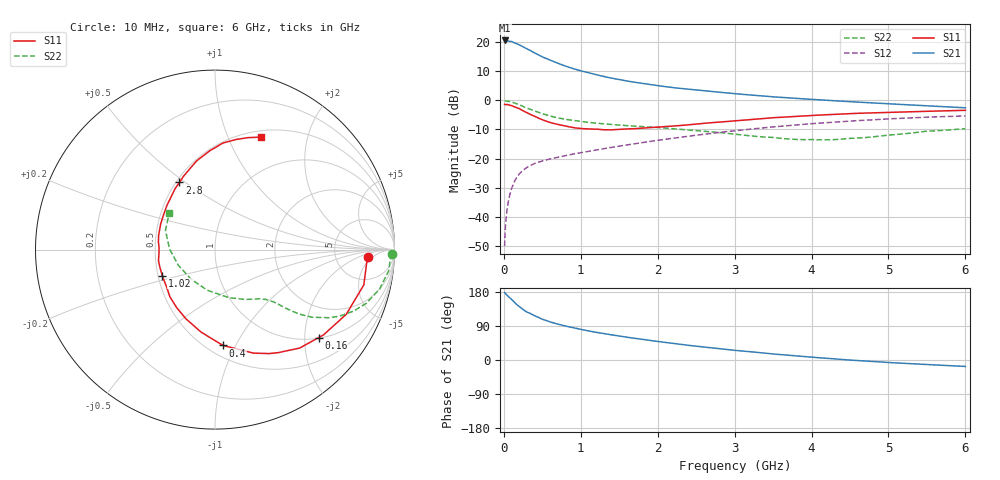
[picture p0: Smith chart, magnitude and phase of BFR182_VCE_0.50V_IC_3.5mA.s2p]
! Infineon Technologies  Discrete & RF Semiconductors
! BFR182
! VCE = 0.50 V,  IC =  3.5 mA
! Common Emitter S-Parameters:  Nov 2015
# GHz  S  MA  R  50
!  f  S11  S21  S12  S22
! GHz  MAG  ANG  MAG  ANG  MAG  ANG  MAG  ANG
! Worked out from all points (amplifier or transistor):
!   210 points, 10 MHz to 6 GHz, reference 50 ohm
!   highest |S21| = 20.7 dB at 10 MHz (marker M1)
!   |S21| within 3 dB of that: start of sweep to 309.4 MHz
!   unconditionally stable (mu >= 1): 1.081 GHz to 3.753 GHz
!   at 185 MHz: K = 0.28, MSG = 22.6 dB, |S12| = -25.9 dB
!   at 1.52 GHz: K = 1.10, MAG = 9.4 dB, |S12| = -15.6 dB
!   at 6 GHz: K = 0.98, MSG = 1.4 dB, |S12| = -5.3 dB
!   S11 on the Smith chart (normalised r, x): 10 MHz: 12, -4; 160 MHz: 1.02, -2.34; 400 MHz: 0.59, -0.89; 1.02 GHz: 0.53, -0.17; 2.8 GHz: 0.52, +0.47; 6 GHz: 0.57, +1.32
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0.01  0.855 -2.8  10.78 178.1  0.0031 87.6  0.9867 -1.4
0.02  0.8481 -5.3  10.69 175.6  0.0065 86.6  0.9786 -2.9
0.04  0.849 -10.6  10.62 171.5  0.0127 83.7  0.9755 -5.6
0.1  0.8156 -26.2  10.31 159.3  0.0302 75.6  0.9433 -13.5
0.15  0.7689 -38.2  9.676 149.1  0.0434 69.6  0.8948 -19.5
0.16  0.7576 -40.3  9.54 147.5  0.0455 68.5  0.8842 -20.4
0.2  0.7236 -49.3  9.07 140.9  0.0542 65.0  0.8439 -24.0
0.26  0.6537 -62.4  8.285 131.8  0.0645 60.0  0.778 -28.6
0.3  0.6155 -69.6  7.749 126.6  0.0703 57.6  0.7372 -31.0
0.4  0.5356 -85.3  6.58 116.7  0.0823 53.3  0.6567 -35.0
0.5  0.4661 -99.6  5.623 107.7  0.0908 50.8  0.591 -37.4
0.6  0.4182 -112.8  4.944 100.6  0.0984 49.9  0.5386 -38.9
0.7  0.3881 -123.2  4.375 94.7  0.1051 49.6  0.5013 -39.9
0.8  0.3635 -133.8  3.898 89.6  0.1119 49.3  0.4729 -40.6
1.02  0.3275 -153.8  3.187 80.0  0.1274 49.7  0.4321 -42.1
1.4  0.3119 177.6  2.419 66.4  0.1554 50.9  0.3847 -45.9
2.02  0.3472 145.2  1.785 48.4  0.2075 50.6  0.3402 -54.6
2.8  0.4231 117.9  1.386 29.9  0.2812 46.4  0.2813 -73.1
3.1  0.4554 110.6  1.275 23.8  0.3103 43.7  0.2537 -83.2
4.1  0.5597 91.4  1.024 5.9  0.4065 33.1  0.2098 -134.5
5.1  0.6292 78.0  0.863 -7.6  0.4885 20.9  0.259 174.6
6  0.6762 67.9  0.747 -17.0  0.5411 8.7  0.3272 141.1
